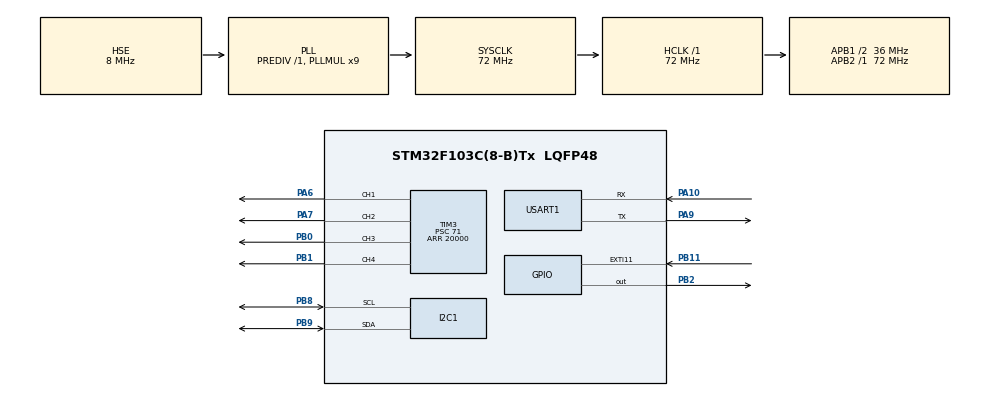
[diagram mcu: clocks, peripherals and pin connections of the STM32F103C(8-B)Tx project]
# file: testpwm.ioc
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Mcu.Family=STM32F1
Mcu.Name=STM32F103C(8-B)Tx
Mcu.Package=LQFP48
NVIC.EXTI15_10_IRQn=true\:1\:0\:true\:false\:true\:true\:true\:true
NVIC.PriorityGroup=NVIC_PRIORITYGROUP_4
PA10.Mode=Asynchronous
PA10.Signal=USART1_RX
PA13.Mode=Serial_Wire
PA13.Signal=SYS_JTMS-SWDIO
PA14.Mode=Serial_Wire
PA14.Signal=SYS_JTCK-SWCLK
PA6.Signal=S_TIM3_CH1
PA7.Signal=S_TIM3_CH2
PA9.Mode=Asynchronous
PA9.Signal=USART1_TX
PB0.Signal=S_TIM3_CH3
PB1.Signal=S_TIM3_CH4
PB11.Signal=GPXTI11
PB2.GPIO_PuPd=GPIO_PULLUP
PB2.Signal=GPIO_Output
PB8.Mode=I2C
PB8.Signal=I2C1_SCL
PB9.Mode=I2C
PB9.Signal=I2C1_SDA
PD0-OSC_IN.Mode=HSE-External-Oscillator
PD0-OSC_IN.Signal=RCC_OSC_IN
PD1-OSC_OUT.Mode=HSE-External-Oscillator
PD1-OSC_OUT.Signal=RCC_OSC_OUT
ProjectManager.HeapSize=0x200
ProjectManager.StackSize=0x400
ProjectManager.TargetToolchain=STM32CubeIDE
RCC.AHBFreq_Value=72000000
RCC.APB1CLKDivider=RCC_HCLK_DIV2
RCC.APB1Freq_Value=36000000
RCC.APB1TimFreq_Value=72000000
RCC.APB2Freq_Value=72000000
RCC.APB2TimFreq_Value=72000000
RCC.HCLKFreq_Value=72000000
RCC.PLLMUL=RCC_PLL_MUL9
RCC.PLLSourceVirtual=RCC_PLLSOURCE_HSE
RCC.SYSCLKFreq_VALUE=72000000
RCC.SYSCLKSource=RCC_SYSCLKSOURCE_PLLCLK
RCC.USBFreq_Value=72000000
SH.S_TIM3_CH1.0=TIM3_CH1,PWM Generation1 CH1
SH.S_TIM3_CH2.0=TIM3_CH2,PWM Generation2 CH2
SH.S_TIM3_CH3.0=TIM3_CH3,PWM Generation3 CH3
SH.S_TIM3_CH4.0=TIM3_CH4,PWM Generation4 CH4
TIM2.Prescaler=71
TIM3.Channel-PWM\ Generation1\ CH1=TIM_CHANNEL_1
TIM3.Channel-PWM\ Generation2\ CH2=TIM_CHANNEL_2
TIM3.Channel-PWM\ Generation3\ CH3=TIM_CHANNEL_3
TIM3.Channel-PWM\ Generation4\ CH4=TIM_CHANNEL_4
TIM3.Period=20000
TIM3.Prescaler=71
TIM4.Prescaler=71
USART1.VirtualMode=VM_ASYNC
VP_TIM2_VS_ClockSourceINT.Mode=Internal
VP_TIM4_VS_ClockSourceINT.Mode=Internal
board=custom

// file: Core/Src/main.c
/* USER CODE BEGIN Header */
/**
  ******************************************************************************
  * @file           : main.c
  * @brief          : Main program body
  ******************************************************************************
  * @attention
  *
  * Copyright (c) 2023 STMicroelectronics.
  * All rights reserved.
  *
  * This software is licensed under terms that can be found in the LICENSE file
  * in the root directory of this software component.
  * If no LICENSE file comes with this software, it is provided AS-IS.
  *
  ******************************************************************************
  */
/* USER CODE END Header */
#include "main.h"

/* USER CODE BEGIN Includes */
#include "imu.h"
#include "stdbool.h"
#include "math.h"
#include "stdlib.h"
#include "stdio.h"
#include "string.h"
#include "crc.h"
#include "frame_uart.h"
/* USER CODE END Includes */

/* USER CODE BEGIN PTD */
#define MPU9250_CONFIG		0X1A
#define MPU9250_ADDR		0xD0
#define WHO_AM_I_REG 		0x75
#define ACCEL_CONFIG_2		0X1D

uint8_t GYRO_DLPF_CFG		= 0X02; 	// Set digital low-pass filter 0x02 to get bandwidth 92Hz
uint8_t ACCEL_DLPF_CFG		= 0X02;		// Set digital low-pass filter 0x02 to get bandwidth 99Hz

uint8_t GYRO_FS				= 0x08;		// +500DPS
uint8_t ACCEL_FS			= 0X10;		// +-8G

uint8_t PWR_CONIG			= 0X00;		// Auto select the best available clock source
uint8_t PWR_CONIG_2			= 0X01;
uint8_t SMPLRT_CONFIG		= 0X07;		// Sample_Rate = Internal_Sample_Rate/(1+SMPLRT_CONFIG)
										// Sample_Rate = 8Khz/(1+8) = 1Khz
uint8_t MPU9250_RESPONSE_OK	= 0x71;		// Check WHO_AM_I if it is OK it will 0x71 or 113
uint8_t MPU9250_Check		= 0;

bool set_gyro_angle = false;
volatile long ch[8];
//ch[2]=1000;
volatile long tick;
volatile uint8_t pulse;
float dt =0.004;
/* USER CODE END PTD */

/* USER CODE BEGIN PD */
//kalman
float Kalman1DOutput[]={0,0};
float AngleRoll, AnglePitch;
float KalmanAngleRoll=0, KalmanUncertaintyAngleRoll=2*2;
float KalmanAnglePitch=0, KalmanUncertaintyAnglePitch=2*2;
float DesiredAngleRoll, DesiredAnglePitch,DesiredRateYaw;

float ErrorRateRoll, ErrorRatePitch, ErrorRateYaw;
float InputRoll, InputThrottle, InputPitch, InputYaw;
float PrevErrorRateRoll, PrevErrorRatePitch, PrevErrorRateYaw;
float PrevItermRateRoll, PrevItermRatePitch, PrevItermRateYaw;
////pid
float PIDReturn[]={0, 0, 0};
float PRateRoll=1.0;
float PRatePitch=1.0;
//PRatePitch=PRateRoll;
float PRateYaw=1;
float IRateRoll=0.001;
float IRatePitch=0.001;
float IRateYaw=0.00;
float DRateRoll=0.12;
float DRatePitch=0.12;
float DRateYaw=0.0;

float DesiredRateRoll, DesiredRatePitch,DesiredRateYaw;
float ErrorAngleRoll, ErrorAnglePitch;
float PrevErrorAngleRoll, PrevErrorAnglePitch;
float PrevItermAngleRoll, PrevItermAnglePitch;
float PAngleRoll=1.5; float PAnglePitch=1.5;
float IAngleRoll=0.001; float IAnglePitch=0.001;
float DAngleRoll=0.0; float DAnglePitch=0.0;

///////
MPU9250_t mpu;

int receiver_input_channel_1;
int receiver_input_channel_2;
int receiver_input_channel_3;
int receiver_input_channel_4;
int receiver_input_channel_5;
int receiver_input_channel_6;

int throttle;

int cal_int;
long gyro_x_cal;
long gyro_y_cal;
long gyro_z_cal;

uint16_t loop_timer;

float acc_x;
float acc_y;
float acc_z;
float gyro_x;
float gyro_y;
float gyro_z;
float AccX, AccY, AccZ;

//long acc_x;
//long acc_y;
//long acc_z;
//long acc_total_vector;

float angle_roll;
float angle_pitch;
float angle_yaw;
//float angle_pitch_1;
//float angle_roll_1;

float angle_roll_output;
float angle_pitch_output;
float angle_yaw_output;

//float angle_roll_acc;
//float angle_pitch_acc;
//float angle_yaw_acc;
//float angle_pitch_acc_1;
//float angle_roll_acc_1;

//float roll_level_adjust;
//float pitch_level_adjust;

float gyro_roll_input;
float gyro_pitch_input;
float gyro_yaw_input;

// qt_tune qt_data;
uint8_t f_trans[FRAME_DATA_TX];
uint8_t f_dest_trans[FRAME_DATA_TX_HANDLE];
uint16_t f_dest_len_t = 0;
volatile float q_Roll_angle = 0;

//float pid_roll_setpoint;
//float pid_pitch_setpoint;
//float pid_yaw_setpoint;

//float pid_p_gain_roll		= 0.5;			//1.5
//float pid_i_gain_roll		= 3.5;			//0.02
//float pid_d_gain_roll		= 0.01;			//15
//
//float pid_p_gain_pitch		= 0.5;			//1.5
//float pid_i_gain_pitch		= 3.5;			//0.02
//float pid_d_gain_pitch		= 0.01;			//15
//
//float pid_p_gain_yaw		= 0.5;			//0.02
//float pid_i_gain_yaw		= 3.5;
//float pid_d_gain_yaw		= 0.01;			//15

//float pid_i_mem_roll;
//float pid_i_mem_pitch;
//float pid_i_mem_yaw;
//
//float pid_i_mem_roll_last;
//float pid_i_mem_pitch_last;
//float pid_i_mem_yaw_last;
//
//float pid_last_roll_d_error;
//float pid_last_pitch_d_error;
//float pid_last_yaw_d_error;
//
//float pid_error_temp;

//float pid_roll_output;
//float pid_pitch_output;
//float pid_yaw_output;

//int pid_max_roll			= 400;
//int pid_max_pitch			= 400;
//int pid_max_yaw				= 400;

int esc1;
int esc2;
int esc3;
int esc4;

//int start;

//int min_throthle = 1070;
//int max_throthle = 2000;
//int disable_motor = 1000;

//float turning_speed = 5.0;
//bool auto_level = true;

//float KalmanOut[2];
/* Kalman filter variables */
//float Q_anglez= 0.008f;; // Process noise variance for the accelerometer
//float Q_biasz= 0.003f; // Process noise variance for the gyro bias
//float R_measurez= 0.05f; // Measurement noise variance - this is actually the variance of the measurement noise
//
//float Q_angle= 0.008f; // Process noise variance for the accelerometer
//float Q_bias= 0.003f; // Process noise variance for the gyro bias
//float R_measure= 0.05f;// Measurement noise variance - this is actually the variance of the measurement noise

//float angle = 0.0f;; // The angle calculated by the Kalman filter - part of the 2x1 state vector
//float bias =0.0f;; // The gyro bias calculated by the Kalman filter - part of the 2x1 state vector
//float rate; // Unbiased rate calculated from the rate and the calculated bias - you have to call getAngle to update the rate
//
//float P[2][2]; // Error covariance matrix - This is a 2x2 matrix
//float S;
//float K[2];
//float y;
//float P00_temp;
//float P01_temp;
//
//
//float anglez = 0.0f; // The angle calculated by the Kalman filter - part of the 2x1 state vector
//float biasz =0.0f;// The gyro bias calculated by the Kalman filter - part of the 2x1 state vector
//float ratez; // Unbiased rate calculated from the rate and the calculated bias - you have to call getAngle to update the rate
//
//float Pz[2][2]; // Error covariance matrix - This is a 2x2 matrix
//float Sz;
//float Kz[2];
//float yz;
//float P00_tempz;
//float P01_tempz;
/* USER CODE END PD */

/* USER CODE BEGIN PM */
int mapValue(int value, int inMin, int inMax, int outMin, int outMax);
void gyro_signalen(void);
void gyro_get_data();
/* USER CODE END PM */

I2C_HandleTypeDef hi2c1;

TIM_HandleTypeDef htim2;
TIM_HandleTypeDef htim3;
TIM_HandleTypeDef htim4;

UART_HandleTypeDef huart1;

/* USER CODE BEGIN PV */
void kalman_1d(float KalmanState, float KalmanUncertainty, float KalmanInput, float KalmanMeasurement) {
  KalmanState=KalmanState+0.006*KalmanInput;
  KalmanUncertainty=KalmanUncertainty + 0.004 * 0.004 * 4 * 4;
  float KalmanGain=KalmanUncertainty * 1/(1*KalmanUncertainty + 3 * 3);
  KalmanState=KalmanState+KalmanGain * (KalmanMeasurement-KalmanState);
  KalmanUncertainty=(1-KalmanGain) * KalmanUncertainty;
  Kalman1DOutput[0]=KalmanState;
  Kalman1DOutput[1]=KalmanUncertainty;
}
void pid_equation(float Error, float P , float I, float D, float PrevError, float PrevIterm) {
  float Pterm=P*Error;
  float Iterm=PrevIterm+I*(Error+PrevError)*0.004/2;
  if (Iterm > 400) Iterm=400;
  else if (Iterm <-400) Iterm=-400;
  float Dterm=D*(Error-PrevError)/0.004;
  float PIDOutput= Pterm+Iterm+Dterm;
  if (PIDOutput>400) PIDOutput=400;
  else if (PIDOutput <-400) PIDOutput=-400;
  PIDReturn[0]=PIDOutput;
  PIDReturn[1]=Error;
  PIDReturn[2]=Iterm;
}

void reset_pid(void) {
  PrevErrorRateRoll=0; PrevErrorRatePitch=0; PrevErrorRateYaw=0;
  PrevItermRateRoll=0; PrevItermRatePitch=0; PrevItermRateYaw=0;
  PrevErrorAngleRoll=0; PrevErrorAnglePitch=0;
  PrevItermAngleRoll=0; PrevItermAnglePitch=0;
}

void HAL_GPIO_EXTI_Callback (uint16_t GPIO_Pin){
	if(GPIO_Pin == GPIO_PIN_11){

		tick = __HAL_TIM_GET_COUNTER(&htim4);
		__HAL_TIM_SET_COUNTER(&htim4,0);
		if(tick < 2008){

			if(pulse==2){
				if(tick<1000 || abs(tick - ch[pulse])>200) ch[pulse]=ch[pulse];
				else
					ch[pulse]= tick;
			}
			else if((pulse ==4) || (pulse ==5)){
				ch[pulse]= tick;
			}
			else{
//				if(tick<1200 || tick >1700 ) ch[pulse]=ch[pulse];
//				else
				if(tick<1000 || abs(tick - ch[pulse])>200) ch[pulse]=ch[pulse];
				else
					ch[pulse]= mapValue(tick, 1200, 1700, 1000, 2000);
				//ch[pulse]= tick;
			}

			//ch[pulse]= tick;
			pulse++;
		}
		else{
			__HAL_TIM_SET_COUNTER(&htim4,0);
			pulse = 0;
		}

	}

}

int mapValue(int value, int inMin, int inMax, int outMin, int outMax) {
if (value < inMin) return outMin;
else if (value > inMax) return outMax;

return (value - inMin) * (outMax - outMin) / (inMax - inMin) + outMin;
}
void calibrate_gyro(void) {
  cal_int = 0;                                                                        //Set the cal_int variable to zero.
  if (cal_int != 2000) {
    //Let's take multiple gyro data samples so we can determine the average gyro offset (calibration).
    for (cal_int = 0; cal_int < 2000 ; cal_int ++) {                                  //Take 2000 readings for calibration.
      if (cal_int % 25 == 0) HAL_GPIO_TogglePin(GPIOB, GPIO_PIN_2);                    //Change the led status every 125 readings to indicate calibration.
      //gyro_signalen();                                                                //Read the gyro output.
      gyro_get_data();
      gyro_x_cal += gyro_x;                                                     //Ad roll value to gyro_roll_cal.
      gyro_y_cal += gyro_y;                                                   //Ad pitch value to gyro_pitch_cal.
      gyro_z_cal += gyro_z;                                                       //Ad yaw value to gyro_yaw_cal.
      HAL_Delay(4);                                                                       //Small delay to simulate a 250Hz loop during calibration.
    }
    //red_led(HIGH);                                                                     //Set output PB3 low.
    //Now that we have 2000 measures, we need to devide by 2000 to get the average gyro offset.
    gyro_x_cal /= 2000;                                                            //Divide the roll total by 2000.
    gyro_y_cal /= 2000;                                                           //Divide the pitch total by 2000.
    gyro_z_cal /= 2000;                                                             //Divide the yaw total by 2000.
  }
}
void gyro_signalen(void) {
//  HWire.beginTransmission(gyro_address);                       //Start communication with the gyro.
//  HWire.write(0x3B);                                           //Start reading @ register 43h and auto increment with every read.
//  HWire.endTransmission();                                     //End the transmission.
//  HWire.requestFrom(gyro_address, 14);                         //Request 14 bytes from the MPU 6050.
//  acc_y = HWire.read() << 8 | HWire.read();                    //Add the low and high byte to the acc_x variable.
//  acc_x = HWire.read() << 8 | HWire.read();                    //Add the low and high byte to the acc_y variable.
//  acc_z = HWire.read() << 8 | HWire.read();                    //Add the low and high byte to the acc_z variable.
//  temperature = HWire.read() << 8 | HWire.read();              //Add the low and high byte to the temperature variable.
//  gyro_roll = HWire.read() << 8 | HWire.read();                //Read high and low part of the angular data.
//  gyro_pitch = HWire.read() << 8 | HWire.read();               //Read high and low part of the angular data.
//  gyro_yaw = HWire.read() << 8 | HWire.read();                 //Read high and low part of the angular data.
	//update_accel_gyro(&mpu);
	if(updateMPU(&mpu)==1){
	HAL_GPIO_WritePin(GPIOB, GPIO_PIN_2, 0);
   	 //HAL_Delay(100);
//    gyro_x = mpu.g[0];
//	gyro_y = mpu.g[1];                                            //Invert the direction of the axis.
//    gyro_z = mpu.g[2];                                              //Invert the direction of the axis.

//  if (level_calibration_on == 0) {
//    acc_y -= acc_pitch_cal_value;                              //Subtact the manual accelerometer pitch calibration value.
//    acc_x -= acc_roll_cal_value;                               //Subtact the manual accelerometer roll calibration value.
//  }

    gyro_x = (mpu.g[0] - 2.57);                                  //Subtact the manual gyro roll calibration value.
    gyro_y = (mpu.g[1] + 2.1);                                //Subtact the manual gyro pitch calibration value.
    gyro_z = (mpu.g[2] - 0.035);                                    //Subtact the manual gyro yaw calibration value.
    AngleRoll = (mpu.rpy[0] - 0.46);
    AnglePitch = -(mpu.rpy[1] + 0.52);

	}
	else HAL_GPIO_WritePin(GPIOB, GPIO_PIN_2, 1);
}

void gyro_setup(){

	 if (HAL_I2C_Mem_Read (&hi2c1, MPU9250_ADDR,WHO_AM_I_REG,1, &MPU9250_Check, 1, 1000) == HAL_OK ){
		 if ( MPU9250_Check == MPU9250_RESPONSE_OK ){

//			 HAL_I2C_Mem_Write(&hi2c1, MPU9250_ADDR, PWR_MGMT_1, 1, &PWR_CONIG, 1, 100);				// Auto select best available clock source
//			 HAL_Delay(100);
//			 HAL_I2C_Mem_Write(&hi2c1, MPU9250_ADDR, PWR_MGMT_1, 1, &PWR_CONIG_2, 1, 100);				// Auto select best available clock source
//			 HAL_Delay(100);
			 writeByte(MPU9250_ADDRESS, PWR_MGMT_1, 0x80); // Write a one to bit 7 reset bit; toggle reset device
			 HAL_Delay(100); // Delay 100 ms for PLL to get established on x-axis gyro; should check for PLL ready interrupt

			 	// wake up device
			 writeByte(MPU9250_ADDRESS, PWR_MGMT_1, 0x00);  // Set clock source to be PLL with x-axis gyroscope reference, bits 2:0 = 001
			 HAL_Delay(100);

			 	// get stable time source
			 writeByte(MPU9250_ADDRESS, PWR_MGMT_1, 0x01);  // Auto select clock source to be PLL gyroscope reference if ready else
			 HAL_Delay(100);
			 writeByte(MPU9250_ADDRESS, CONFIG, 0x03);

			 HAL_I2C_Mem_Write(&hi2c1, MPU9250_ADDR, SMPLRT_DIV, 1, &SMPLRT_CONFIG, 1, 100);			// 1Khz sample rate
			 HAL_Delay(100);
			 //
			 HAL_I2C_Mem_Write(&hi2c1, MPU9250_ADDR, MPU9250_CONFIG, 1, &GYRO_DLPF_CFG, 1, 100);		// Set digital low-pass filter 0x02 to get bandwidth 92Hz
			 HAL_Delay(100);
			 HAL_I2C_Mem_Write(&hi2c1, MPU9250_ADDR, ACCEL_CONFIG_2, 1, &ACCEL_DLPF_CFG, 1, 100);		// Set digital low-pass filter 0x02 to get bandwidth 99Hz

			 HAL_Delay(100);
			 HAL_I2C_Mem_Write(&hi2c1, MPU9250_ADDR, GYRO_CONFIG, 1, &GYRO_FS, 1, 100);					// Set GYRO to full scale +250DPS
			 HAL_Delay(100);
			 HAL_I2C_Mem_Write(&hi2c1, MPU9250_ADDR, ACCEL_CONFIG, 1, &ACCEL_FS, 1, 100);				// Set ACCEL to full scale +-2G

		 }

	 }

}
void gyro_get_data(){

//	uint8_t Accel_Val_Raw[6];
//	HAL_I2C_Mem_Read(&hi2c1, MPU9250_ADDR, ACCEL_XOUT_H, 1, Accel_Val_Raw, 6, 1000);
//
//	acc_x = (int16_t) (Accel_Val_Raw[0] << 8 | Accel_Val_Raw [1]);
//	acc_y = (int16_t) (Accel_Val_Raw[2] << 8 | Accel_Val_Raw [3]);
//	acc_z = (int16_t) (Accel_Val_Raw[4] << 8 | Accel_Val_Raw [5]);
//
//	uint8_t Gyro_Val_Raw[6];
//	HAL_I2C_Mem_Read(&hi2c1, MPU9250_ADDR, GYRO_XOUT_H, 1, Gyro_Val_Raw, 6, 1000);
//
//	gyro_x = (int16_t) (Gyro_Val_Raw[0] << 8 | Gyro_Val_Raw [1]);
//	gyro_y = (int16_t) (Gyro_Val_Raw[2] << 8 | Gyro_Val_Raw [3]);
//	gyro_z = (int16_t) (Gyro_Val_Raw[4] << 8 | Gyro_Val_Raw [5]);
	 update_accel_gyro(&mpu);

	 gyro_x=mpu.g[0];
	 gyro_y=mpu.g[1];
	 gyro_z=mpu.g[2];

	  AccX=mpu.a[0];
	  AccY=mpu.a[1];
	  AccZ=mpu.a[2];
	  AngleRoll=atan(AccY/sqrt(AccX*AccX+AccZ*AccZ))*1/(3.142/180);
	  AnglePitch=-atan(AccX/sqrt(AccY*AccY+AccZ*AccZ))*1/(3.142/180);
	//gyro_x *= -1;
//	gyro_y *= -1;
	//gyro_z *= -1;

}
//void calculate_pid(void) {
//   pid_error_temp = gyro_roll_input - pid_roll_setpoint;
//  pid_i_mem_roll += pid_i_gain_roll * pid_error_temp;
//  if (pid_i_mem_roll > pid_max_roll)pid_i_mem_roll = pid_max_roll;
//  else if (pid_i_mem_roll < pid_max_roll * -1)pid_i_mem_roll = pid_max_roll * -1;
//
//  pid_roll_output = pid_p_gain_roll * pid_error_temp + pid_i_mem_roll + pid_d_gain_roll * (pid_error_temp - pid_last_roll_d_error);
//  if (pid_roll_output > pid_max_roll)pid_roll_output = pid_max_roll;
//  else if (pid_roll_output < pid_max_roll * -1)pid_roll_output = pid_max_roll * -1;
//
//  pid_last_roll_d_error = pid_error_temp;
//
//  //Pitch calculations
//  pid_error_temp = gyro_pitch_input - pid_pitch_setpoint;
//  pid_i_mem_pitch += pid_i_gain_pitch * pid_error_temp;
//  if (pid_i_mem_pitch > pid_max_pitch)pid_i_mem_pitch = pid_max_pitch;
//  else if (pid_i_mem_pitch < pid_max_pitch * -1)pid_i_mem_pitch = pid_max_pitch * -1;
//
//  pid_pitch_output = pid_p_gain_pitch * pid_error_temp + pid_i_mem_pitch + pid_d_gain_pitch * (pid_error_temp - pid_last_pitch_d_error);
//  if (pid_pitch_output > pid_max_pitch)pid_pitch_output = pid_max_pitch;
//  else if (pid_pitch_output < pid_max_pitch * -1)pid_pitch_output = pid_max_pitch * -1;
//
//  pid_last_pitch_d_error = pid_error_temp;
//
//  //Yaw calculations
//  pid_error_temp = gyro_yaw_input - pid_yaw_setpoint;
//  pid_i_mem_yaw += pid_i_gain_yaw * pid_error_temp;
//  if (pid_i_mem_yaw > pid_max_yaw)pid_i_mem_yaw = pid_max_yaw;
//  else if (pid_i_mem_yaw < pid_max_yaw * -1)pid_i_mem_yaw = pid_max_yaw * -1;
//
//  pid_yaw_output = pid_p_gain_yaw * pid_error_temp + pid_i_mem_yaw + pid_d_gain_yaw * (pid_error_temp - pid_last_yaw_d_error);
//  if (pid_yaw_output > pid_max_yaw)pid_yaw_output = pid_max_yaw;
//  else if (pid_yaw_output < pid_max_yaw * -1)pid_yaw_output = pid_max_yaw * -1;
//}
/* USER CODE END PV */

void SystemClock_Config(void);
static void MX_GPIO_Init(void);
static void MX_TIM4_Init(void);
static void MX_TIM3_Init(void);
static void MX_I2C1_Init(void);
static void MX_TIM2_Init(void);
static void MX_USART1_UART_Init(void);

int main(void)
{

  /* MCU Configuration--------------------------------------------------------*/

  /* Reset of all peripherals, Initializes the Flash interface and the Systick. */
  HAL_Init();

  /* Configure the system clock */
  SystemClock_Config();

  /* Initialize all configured peripherals */
  //MX_GPIO_Init();
  MX_TIM4_Init();
  MX_TIM3_Init();
  MX_I2C1_Init();
  MX_TIM2_Init();
  MX_GPIO_Init();
  MX_USART1_UART_Init();
  /* USER CODE BEGIN 2 */
  HAL_TIM_Base_Start(&htim4);
  HAL_TIM_Base_Start(&htim2);
    HAL_TIM_PWM_Start(&htim3, TIM_CHANNEL_1);
    HAL_TIM_PWM_Start(&htim3, TIM_CHANNEL_2);
    HAL_TIM_PWM_Start(&htim3, TIM_CHANNEL_3);
    HAL_TIM_PWM_Start(&htim3, TIM_CHANNEL_4);
    HAL_Delay(10);
     __HAL_TIM_SET_COMPARE(&htim3,TIM_CHANNEL_1,0);
     __HAL_TIM_SET_COMPARE(&htim3,TIM_CHANNEL_2,0);
     __HAL_TIM_SET_COMPARE(&htim3,TIM_CHANNEL_3,0);
     __HAL_TIM_SET_COMPARE(&htim3,TIM_CHANNEL_4,0);
     HAL_Delay(10);
     //gyro_setup();
     MPU9250SetDefault(&mpu);
          while(!(setupMPU(&mpu, MPU9250_ADDRESS)==1)) {
         //	 int i;
         //	 for (i=0;i<50;i++){HAL_GPIO_TogglePin(GPIOD, GPIO_PIN_14);}
          }
          HAL_Delay(100);
//
          int i;
          for(i=0;i<100;i++){
               if(updateMPU(&mpu)==1){
              	 HAL_GPIO_WritePin(GPIOB, GPIO_PIN_2,1);
              	 HAL_Delay(100);
               }
           }

          HAL_GPIO_WritePin(GPIOB, GPIO_PIN_2, 0);
          HAL_Delay(2000);
          calibrate_gyro();
          loop_timer = __HAL_TIM_GET_COUNTER(&htim2);
          ch[2]=1000;
          ch[0]=1500;
          ch[1]=1500;
          ch[3]=1500;
  /* USER CODE END 2 */

  /* Infinite loop */
  while (1)
  {

    /* USER CODE BEGIN 3 */
	//uint32_t dau = HAL_GetTick();
	  	  gyro_get_data();
	  	  gyro_x = gyro_x - 2.58;
	  	  gyro_y = gyro_y + 2.05;
	  	  gyro_z = gyro_z + 0.2;
 	  	  receiver_input_channel_1 = ch[2]; //thr
	 	  receiver_input_channel_2 = 1500;//ch[0]; //roll
	 	  receiver_input_channel_3 = 1500;//ch[1];	//pitch
	 	  receiver_input_channel_4 = 1500;//ch[3]; //yaw
	 	  receiver_input_channel_5 = ch[4];	 //sw left
	 	  receiver_input_channel_6 = ch[5]; //sw right

	 	gyro_pitch_input 	= ( gyro_pitch_input * 0.7 ) + (float)( gyro_y  * 0.3);
	 	gyro_roll_input 	= ( gyro_roll_input * 0.7 ) + (float)( gyro_x  * 0.3);
	 	gyro_yaw_input 	= ( gyro_yaw_input * 0.7 ) + (float)( gyro_z  * 0.3);

	 	//Gyro angle calculations
	 	  //0.0000611 = 1 / (250Hz / 65.5)
//	 	  angle_pitch += (float)gyro_y * 0.004;                                    //Calculate the traveled pitch angle and add this to the angle_pitch variable.
//	 	  angle_roll += (float)gyro_x * 0.004;                                      //Calculate the traveled roll angle and add this to the angle_roll variable.
//	 	  angle_yaw += (float)gyro_z * 0.004;                                        //Calculate the traveled yaw angle and add this to the angle_yaw variable.
//	 	  if (angle_yaw < 0) angle_yaw += 360;                                             //If the compass heading becomes smaller then 0, 360 is added to keep it in the 0 till 360 degrees range.
//	 	  else if (angle_yaw >= 360) angle_yaw -= 360;                                     //If the compass heading becomes larger then 360, 360 is subtracted to keep it in the 0 till 360 degrees range.

	 	 //0.000001066 = 0.0000611 * (3.142(PI) / 180degr) The Arduino sin function is in radians and not degrees.
//	 	   angle_pitch -= angle_roll * sin((float)gyro_z * 0.000069822);                  //If the IMU has yawed transfer the roll angle to the pitch angel.
//	 	   angle_roll += angle_pitch * sin((float)gyro_z * 0.000069822);                  //If the IMU has yawed transfer the pitch angle to the roll angel.

//	 	   angle_yaw -= course_deviation(angle_yaw, actual_compass_heading) / 1200.0;       //Calculate the difference between the gyro and compass heading and make a small correction.
//	 	   if (angle_yaw < 0) angle_yaw += 360;                                             //If the compass heading becomes smaller then 0, 360 is added to keep it in the 0 till 360 degrees range.
//	 	   else if (angle_yaw >= 360) angle_yaw -= 360;   									//If the compass heading becomes larger then 360, 360 is subtracted to keep it in the 0 till 360 degrees range.

	 	  //Accelerometer angle calculations
//	 	  acc_total_vector = sqrt((mpu.a[0] *mpu.a[0] ) + (mpu.a[1] * mpu.a[1]) + (mpu.a[2] * mpu.a[2]));    //Calculate the total accelerometer vector.
//
//	 	  if (abs(mpu.a[1]) < acc_total_vector) {                                             //Prevent the asin function to produce a NaN.
//	 	    angle_pitch_acc_1 = asin((float)mpu.a[1] / acc_total_vector) * 57.296;              //Calculate the pitch angle.
//	 	  }
//	 	  if (abs(mpu.a[0]) < acc_total_vector) {                                             //Prevent the asin function to produce a NaN.
//	 	    angle_roll_acc_1 = asin((float)mpu.a[0] / acc_total_vector) * 57.296;               //Calculate the roll angle.
//	 	  }

	 	//angle_pitch_acc = mpu.rpy[1]+5.63;		// -1
	 	//angle_roll_acc =mpu.rpy[0]-0.76;		// -2.5
	 	//angle_yaw_acc = mpu.rpy[2];
	 	//angle_yaw = angle_yaw_acc;

//	 	 angle_pitch_acc_1 -= 0.57;		// -0.08
//	 	 angle_roll_acc_1 -= -0.427;		// -1
//
	 	//angle_pitch_acc = Kalman_getAngle_pitch((-(mpu.rpy[1] + 1.57)), mpu.g[1], 0.006);//(-(mpu.rpy[1] + 1.42));
	 	//angle_roll_acc = Kalman_getAngle_roll((mpu.rpy[0] + 0.38), mpu.g[0], 0.006);//(mpu.rpy[0] + 0.38);

	 		kalman_1d(KalmanAngleRoll, KalmanUncertaintyAngleRoll, gyro_x, AngleRoll);
	 		KalmanAngleRoll=Kalman1DOutput[0]; KalmanUncertaintyAngleRoll=Kalman1DOutput[1];

	 		kalman_1d(KalmanAnglePitch, KalmanUncertaintyAnglePitch, gyro_y, AnglePitch);
	 		KalmanAnglePitch=Kalman1DOutput[0]; KalmanUncertaintyAnglePitch=Kalman1DOutput[1];

	 		DesiredAngleRoll=0.10*(receiver_input_channel_2-1500);
	 		DesiredAnglePitch=0.10*(receiver_input_channel_3-1500);
	 		DesiredRateYaw=0.15*(receiver_input_channel_4-1500);

	 		ErrorAngleRoll=DesiredAngleRoll-KalmanAngleRoll;
	 		ErrorAnglePitch=DesiredAnglePitch-KalmanAnglePitch;
	 		pid_equation(ErrorAngleRoll, PAngleRoll, IAngleRoll, DAngleRoll, PrevErrorAngleRoll, PrevItermAngleRoll);
	 		DesiredRateRoll=PIDReturn[0];
	 		PrevErrorAngleRoll=PIDReturn[1];
	 		PrevItermAngleRoll=PIDReturn[2];
	 		pid_equation(ErrorAnglePitch, PAnglePitch, IAnglePitch, DAnglePitch, PrevErrorAnglePitch, PrevItermAnglePitch);
	 		DesiredRatePitch=PIDReturn[0];
	 		PrevErrorAnglePitch=PIDReturn[1];
	 		PrevItermAnglePitch=PIDReturn[2];

	 		  ErrorRateRoll=DesiredRateRoll-gyro_roll_input;
	 		  ErrorRatePitch=DesiredRatePitch-gyro_pitch_input;
	 		  ErrorRateYaw=DesiredRateYaw-gyro_yaw_input;

	 		pid_equation(ErrorRateRoll, PRateRoll, IRateRoll, DRateRoll, PrevErrorRateRoll, PrevItermRateRoll);
	 		       InputRoll=PIDReturn[0];
	 		       PrevErrorRateRoll=PIDReturn[1];
	 		       PrevItermRateRoll=PIDReturn[2];
	 		pid_equation(ErrorRatePitch, PRatePitch,IRatePitch, DRatePitch, PrevErrorRatePitch, PrevItermRatePitch);
	 		       InputPitch=PIDReturn[0];
	 		       PrevErrorRatePitch=PIDReturn[1];
	 		       PrevItermRatePitch=PIDReturn[2];
	 		pid_equation(ErrorRateYaw, PRateYaw,IRateYaw, DRateYaw, PrevErrorRateYaw, PrevItermRateYaw);
	 		       InputYaw=PIDReturn[0];
	 		       PrevErrorRateYaw=PIDReturn[1];
	 		       PrevItermRateYaw=PIDReturn[2];

	 		  throttle = receiver_input_channel_1;

	 		 if (InputThrottle > 1800) InputThrottle = 1800;
	 		   esc1= 1*(throttle-InputRoll-InputPitch-InputYaw);
	 		   esc2= 1*(throttle-InputRoll+InputPitch+InputYaw);
	 		   esc3= 1*(throttle+InputRoll+InputPitch-InputYaw);
	 		   esc4= 1*(throttle+InputRoll-InputPitch+InputYaw);
	 		   if (esc1 > 2000)esc1 = 1999;
	 		   if (esc2 > 2000)esc2 = 1999;
	 		   if (esc3 > 2000)esc3 = 1999;
	 		   if (esc4 > 2000)esc4 = 1999;
	 		   int ThrottleIdle=1100;
	 		   if (esc1 < ThrottleIdle) esc1 = ThrottleIdle;
	 		   if (esc2 < ThrottleIdle) esc2 = ThrottleIdle;
	 		   if (esc3 < ThrottleIdle) esc3 = ThrottleIdle;
	 		   if (esc4 < ThrottleIdle) esc4 = ThrottleIdle;
	 		   int ThrottleCutOff=1000;
	 		   if (throttle<1050) {
	 		     esc1=ThrottleCutOff;
	 		     esc2=ThrottleCutOff;
	 		     esc3=ThrottleCutOff;
	 		     esc4=ThrottleCutOff;
	 		     reset_pid();
	 		   }

//	 		  if ( start == 2 && throttle > 1050 ){
//	 			  if ( throttle > 1800 ) throttle = 1800;
//
//	 			  esc_1 = throttle - pid_pitch_output - pid_roll_output - pid_yaw_output;        //Calculate the pulse for esc 1 (front-right - CCW).
//	 			  esc_2 = throttle + pid_pitch_output - pid_roll_output + pid_yaw_output;        //Calculate the pulse for esc 2 (rear-right - CW).
//	 			  esc_3 = throttle + pid_pitch_output + pid_roll_output - pid_yaw_output;        //Calculate the pulse for esc 3 (rear-left - CCW).
//	 			  esc_4 = throttle - pid_pitch_output + pid_roll_output + pid_yaw_output;        //Calculate the pulse for esc 4 (front-left - CW).
//
//	 			  if ( esc_1 < min_throthle ) esc_1 = min_throthle;
//	 			  if ( esc_2 < min_throthle ) esc_2 = min_throthle;
//	 			  if ( esc_3 < min_throthle ) esc_3 = min_throthle;
//	 			  if ( esc_4 < min_throthle ) esc_4 = min_throthle;
//
//	 			  if ( esc_1 > max_throthle ) esc_1 = max_throthle;
//	 			  if ( esc_2 > max_throthle ) esc_2 = max_throthle;
//	 			  if ( esc_3 > max_throthle ) esc_3 = max_throthle;
//	 			  if ( esc_4 > max_throthle ) esc_4 = max_throthle;
//
//
//	 		  }else{
//	 			  esc_1 = disable_motor;
//	 			  esc_2 = disable_motor;
//	 			  esc_3 = disable_motor;
//	 			  esc_4 = disable_motor;
//	 		  }
//
	 		  __HAL_TIM_SET_COMPARE(&htim3,TIM_CHANNEL_1,esc1);
	 		  __HAL_TIM_SET_COMPARE(&htim3,TIM_CHANNEL_2,esc2);
	 		  __HAL_TIM_SET_COMPARE(&htim3,TIM_CHANNEL_3,esc3);
	 		  __HAL_TIM_SET_COMPARE(&htim3,TIM_CHANNEL_4,esc4);

	 		  if (abs(__HAL_TIM_GET_COUNTER(&htim2) - loop_timer) > 4000 ){
	 			  HAL_GPIO_TogglePin(GPIOB, GPIO_PIN_2);
	 		  }

	 	//	  cuoi = HAL_GetTick() - dau;
	 		// uint32_t cuoi = HAL_GetTick() - dau;
	 		 //uint32_t cuoi2 = abs(__HAL_TIM_GET_COUNTER(&htim2) - loop_timer);
	 		 while ( abs(__HAL_TIM_GET_COUNTER(&htim2) - loop_timer) < 4000 );
	 		 //cuoi2 = abs(__HAL_TIM_GET_COUNTER(&htim2) - loop_timer);
	 		 __HAL_TIM_SET_COUNTER(&htim2,0);
	 		 loop_timer = __HAL_TIM_GET_COUNTER(&htim2);

  }
  /* USER CODE END 3 */
}

void SystemClock_Config(void)
{
  RCC_OscInitTypeDef RCC_OscInitStruct = {0};
  RCC_ClkInitTypeDef RCC_ClkInitStruct = {0};

  /** Initializes the RCC Oscillators according to the specified parameters
  * in the RCC_OscInitTypeDef structure.
  */
  RCC_OscInitStruct.OscillatorType = RCC_OSCILLATORTYPE_HSE;
  RCC_OscInitStruct.HSEState = RCC_HSE_ON;
  RCC_OscInitStruct.HSEPredivValue = RCC_HSE_PREDIV_DIV1;
  RCC_OscInitStruct.HSIState = RCC_HSI_ON;
  RCC_OscInitStruct.PLL.PLLState = RCC_PLL_ON;
  RCC_OscInitStruct.PLL.PLLSource = RCC_PLLSOURCE_HSE;
  RCC_OscInitStruct.PLL.PLLMUL = RCC_PLL_MUL9;
  if (HAL_RCC_OscConfig(&RCC_OscInitStruct) != HAL_OK)
  {
    Error_Handler();
  }

  /** Initializes the CPU, AHB and APB buses clocks
  */
  RCC_ClkInitStruct.ClockType = RCC_CLOCKTYPE_HCLK|RCC_CLOCKTYPE_SYSCLK
                              |RCC_CLOCKTYPE_PCLK1|RCC_CLOCKTYPE_PCLK2;
  RCC_ClkInitStruct.SYSCLKSource = RCC_SYSCLKSOURCE_PLLCLK;
  RCC_ClkInitStruct.AHBCLKDivider = RCC_SYSCLK_DIV1;
  RCC_ClkInitStruct.APB1CLKDivider = RCC_HCLK_DIV2;
  RCC_ClkInitStruct.APB2CLKDivider = RCC_HCLK_DIV1;

  if (HAL_RCC_ClockConfig(&RCC_ClkInitStruct, FLASH_LATENCY_2) != HAL_OK)
  {
    Error_Handler();
  }
}

static void MX_I2C1_Init(void)
{

  hi2c1.Instance = I2C1;
  hi2c1.Init.ClockSpeed = 100000;
  hi2c1.Init.DutyCycle = I2C_DUTYCYCLE_2;
  hi2c1.Init.OwnAddress1 = 0;
  hi2c1.Init.AddressingMode = I2C_ADDRESSINGMODE_7BIT;
  hi2c1.Init.DualAddressMode = I2C_DUALADDRESS_DISABLE;
  hi2c1.Init.OwnAddress2 = 0;
  hi2c1.Init.GeneralCallMode = I2C_GENERALCALL_DISABLE;
  hi2c1.Init.NoStretchMode = I2C_NOSTRETCH_DISABLE;
  if (HAL_I2C_Init(&hi2c1) != HAL_OK)
  {
    Error_Handler();
  }

}

static void MX_TIM2_Init(void)
{

  TIM_ClockConfigTypeDef sClockSourceConfig = {0};
  TIM_MasterConfigTypeDef sMasterConfig = {0};

  htim2.Instance = TIM2;
  htim2.Init.Prescaler = 71;
  htim2.Init.CounterMode = TIM_COUNTERMODE_UP;
  htim2.Init.Period = 65535;
  htim2.Init.ClockDivision = TIM_CLOCKDIVISION_DIV1;
  htim2.Init.AutoReloadPreload = TIM_AUTORELOAD_PRELOAD_DISABLE;
  if (HAL_TIM_Base_Init(&htim2) != HAL_OK)
  {
    Error_Handler();
  }
  sClockSourceConfig.ClockSource = TIM_CLOCKSOURCE_INTERNAL;
  if (HAL_TIM_ConfigClockSource(&htim2, &sClockSourceConfig) != HAL_OK)
  {
    Error_Handler();
  }
  sMasterConfig.MasterOutputTrigger = TIM_TRGO_RESET;
  sMasterConfig.MasterSlaveMode = TIM_MASTERSLAVEMODE_DISABLE;
  if (HAL_TIMEx_MasterConfigSynchronization(&htim2, &sMasterConfig) != HAL_OK)
  {
    Error_Handler();
  }

}

static void MX_TIM3_Init(void)
{

  TIM_MasterConfigTypeDef sMasterConfig = {0};
  TIM_OC_InitTypeDef sConfigOC = {0};

  htim3.Instance = TIM3;
  htim3.Init.Prescaler = 71;
  htim3.Init.CounterMode = TIM_COUNTERMODE_UP;
  htim3.Init.Period = 20000;
  htim3.Init.ClockDivision = TIM_CLOCKDIVISION_DIV1;
  htim3.Init.AutoReloadPreload = TIM_AUTORELOAD_PRELOAD_DISABLE;
  if (HAL_TIM_PWM_Init(&htim3) != HAL_OK)
  {
    Error_Handler();
  }
  sMasterConfig.MasterOutputTrigger = TIM_TRGO_RESET;
  sMasterConfig.MasterSlaveMode = TIM_MASTERSLAVEMODE_DISABLE;
  if (HAL_TIMEx_MasterConfigSynchronization(&htim3, &sMasterConfig) != HAL_OK)
  {
    Error_Handler();
  }
  sConfigOC.OCMode = TIM_OCMODE_PWM1;
  sConfigOC.Pulse = 0;
  sConfigOC.OCPolarity = TIM_OCPOLARITY_HIGH;
  sConfigOC.OCFastMode = TIM_OCFAST_DISABLE;
  if (HAL_TIM_PWM_ConfigChannel(&htim3, &sConfigOC, TIM_CHANNEL_1) != HAL_OK)
  {
    Error_Handler();
  }
  if (HAL_TIM_PWM_ConfigChannel(&htim3, &sConfigOC, TIM_CHANNEL_2) != HAL_OK)
  {
    Error_Handler();
  }
  if (HAL_TIM_PWM_ConfigChannel(&htim3, &sConfigOC, TIM_CHANNEL_3) != HAL_OK)
  {
    Error_Handler();
  }
  if (HAL_TIM_PWM_ConfigChannel(&htim3, &sConfigOC, TIM_CHANNEL_4) != HAL_OK)
  {
    Error_Handler();
  }
  HAL_TIM_MspPostInit(&htim3);

}

static void MX_TIM4_Init(void)
{

  TIM_ClockConfigTypeDef sClockSourceConfig = {0};
  TIM_MasterConfigTypeDef sMasterConfig = {0};

  htim4.Instance = TIM4;
  htim4.Init.Prescaler = 71;
  htim4.Init.CounterMode = TIM_COUNTERMODE_UP;
  htim4.Init.Period = 65535;
  htim4.Init.ClockDivision = TIM_CLOCKDIVISION_DIV1;
  htim4.Init.AutoReloadPreload = TIM_AUTORELOAD_PRELOAD_DISABLE;
  if (HAL_TIM_Base_Init(&htim4) != HAL_OK)
  {
    Error_Handler();
  }
  sClockSourceConfig.ClockSource = TIM_CLOCKSOURCE_INTERNAL;
  if (HAL_TIM_ConfigClockSource(&htim4, &sClockSourceConfig) != HAL_OK)
  {
    Error_Handler();
  }
  sMasterConfig.MasterOutputTrigger = TIM_TRGO_RESET;
  sMasterConfig.MasterSlaveMode = TIM_MASTERSLAVEMODE_DISABLE;
  if (HAL_TIMEx_MasterConfigSynchronization(&htim4, &sMasterConfig) != HAL_OK)
  {
    Error_Handler();
  }

}

static void MX_USART1_UART_Init(void)
{

  huart1.Instance = USART1;
  huart1.Init.BaudRate = 115200;
  huart1.Init.WordLength = UART_WORDLENGTH_8B;
  huart1.Init.StopBits = UART_STOPBITS_1;
  huart1.Init.Parity = UART_PARITY_NONE;
  huart1.Init.Mode = UART_MODE_TX_RX;
  huart1.Init.HwFlowCtl = UART_HWCONTROL_NONE;
  huart1.Init.OverSampling = UART_OVERSAMPLING_16;
  if (HAL_UART_Init(&huart1) != HAL_OK)
  {
    Error_Handler();
  }

}

static void MX_GPIO_Init(void)
{
  GPIO_InitTypeDef GPIO_InitStruct = {0};

  /* GPIO Ports Clock Enable */
  __HAL_RCC_GPIOD_CLK_ENABLE();
  __HAL_RCC_GPIOA_CLK_ENABLE();
  __HAL_RCC_GPIOB_CLK_ENABLE();

  /*Configure GPIO pin Output Level */
  HAL_GPIO_WritePin(GPIOB, GPIO_PIN_2, GPIO_PIN_RESET);

  /*Configure GPIO pin : PB2 */
  GPIO_InitStruct.Pin = GPIO_PIN_2;
  GPIO_InitStruct.Mode = GPIO_MODE_OUTPUT_PP;
  GPIO_InitStruct.Pull = GPIO_PULLUP;
  GPIO_InitStruct.Speed = GPIO_SPEED_FREQ_LOW;
  HAL_GPIO_Init(GPIOB, &GPIO_InitStruct);

  /*Configure GPIO pin : PB11 */
  GPIO_InitStruct.Pin = GPIO_PIN_11;
  GPIO_InitStruct.Mode = GPIO_MODE_IT_RISING;
  GPIO_InitStruct.Pull = GPIO_NOPULL;
  HAL_GPIO_Init(GPIOB, &GPIO_InitStruct);

  /* EXTI interrupt init*/
  HAL_NVIC_SetPriority(EXTI15_10_IRQn, 1, 0);
  HAL_NVIC_EnableIRQ(EXTI15_10_IRQn);

}

void Error_Handler(void)
{
  __disable_irq();
  while (1)
  {
  }
}
